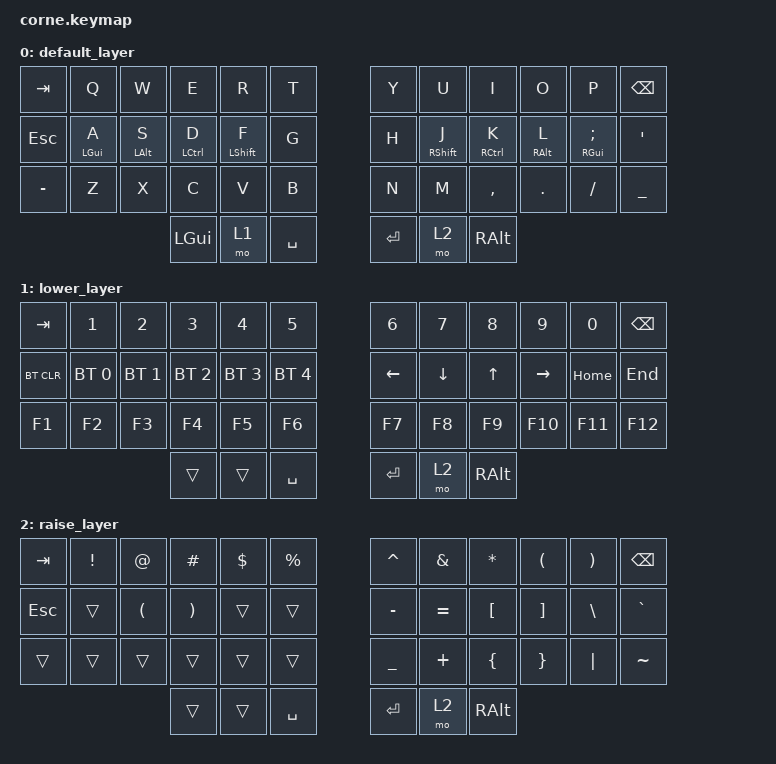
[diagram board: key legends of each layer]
/*
 * Copyright (c) 2020 The ZMK Contributors
 *
 * SPDX-License-Identifier: MIT
 */

#include <behaviors.dtsi>
#include <dt-bindings/zmk/keys.h>
#include <dt-bindings/zmk/bt.h>

/ {
        behaviors {
                hml: home_row_mod_left {
                        compatible = "zmk,behavior-hold-tap";
                        #binding-cells = <2>;
                        flavor = "balanced";
                        tapping-term-ms = <280>;
                        quick-tap-ms = <175>;
                        require-prior-idle-ms = <50>;
                        bindings = <&kp>, <&kp>;

                        hold-trigger-key-positions = <
                                6 7 8 9 10 11
                                18 19 20 21 22 23
                                30 31 32 33 34 35
                                39 40 41
                        >;

                        hold-trigger-on-release;
                };

                hmr: home_row_mod_right {
                        compatible = "zmk,behavior-hold-tap";
                        #binding-cells = <2>;
                        flavor = "balanced";
                        tapping-term-ms = <280>;
                        quick-tap-ms = <175>;
                        require-prior-idle-ms = <50>;
                        bindings = <&kp>, <&kp>;

                        hold-trigger-key-positions = <
                                0 1 2 3 4 5
                                12 13 14 15 16 17
                                24 25 26 27 28 29
                                36 37 38
                        >;

                        hold-trigger-on-release;
                };
        };

        keymap {
                compatible = "zmk,keymap";

                default_layer {
// -----------------------------------------------------------------------------------------
// |  ESC |  Q  |  W  |  E  |  R  |  T  |   |  Y  |  U   |  I  |  O  |  P  | BSPC |
// | TAB |  A  |  S  |  D  |  F  |  G  |   |  H  |  J   |  K  |  L  |  ;  |  '   |
// | - |  Z  |  X  |  C  |  V  |  B  |   |  N  |  M   |  ,  |  .  |  /  | _  |
//                    | GUI | LWR | SPC |   | ENT | RSE  | ALT |
bindings = <
   &kp TAB   &kp Q &kp W &kp E &kp R &kp T   &kp Y &kp U &kp I     &kp O   &kp P    &kp BSPC
   &kp ESC   &hml LGUI A &hml LALT S &hml LCTRL D &hml LSHFT F &kp G   &kp H &hmr RSHFT J &hmr RCTRL K &hmr RALT L &hmr RGUI SEMI &kp SQT
   &kp MINUS &kp Z &kp X &kp C &kp V &kp B   &kp N &kp M &kp COMMA &kp DOT &kp FSLH &kp UNDER
                  &kp LGUI &mo 1 &kp SPACE      &kp RET &mo 2 &kp RALT
>;
                };

                lower_layer {
// -----------------------------------------------------------------------------------------
//|TAB   | 1   | 2   | 3   | 4   | 5   |   | 6    | 7    | 8  | 9     | 0    | BSPC |
//| BTCLR | BT1 | BT2 | BT3 | BT4 | BT5 |   | LEFT | DOWN | UP | RIGHT | HOME | END  |
//| F1    | F2  | F3  | F4  | F5  | F6  |   | F7   | F8   | F9 | F10   | F11  | F12  |
//|                 | | SPACE |   | ENTER | RSE | RALT |
bindings = <
   &kp TAB    &kp N1       &kp N2       &kp N3       &kp N4       &kp N5         &kp N6   &kp N7   &kp N8 &kp N9    &kp N0   &kp BSPC
   &bt BT_CLR &bt BT_SEL 0 &bt BT_SEL 1 &bt BT_SEL 2 &bt BT_SEL 3 &bt BT_SEL 4   &kp LEFT &kp DOWN &kp UP &kp RIGHT &kp HOME &kp END
   &kp F1     &kp F2       &kp F3       &kp F4       &kp F5       &kp F6         &kp F7   &kp F8   &kp F9 &kp F10   &kp F11  &kp F12
                              &trans &trans &kp SPACE   &kp RET &mo 2 &kp RALT
>;
                };

                raise_layer {
// -----------------------------------------------------------------------------------------
//| TAB | ! | @ | # | $ | % |   | ^ | & | * | ( | ) | BSPC |
//| ESC |   |   |   |   |   |   | - | = | [ | ] | \ | `    |
//| -   |   |   |   |   |   |   | _ | + | { | } | | | ~    |
//|              RAISE | LOWER | SPACE |   | ENTER | BSPC | RALT |
                        bindings = <
   &kp TAB   &kp EXCL &kp AT &kp HASH &kp DLLR &kp PRCNT   &kp CARET &kp AMPS  &kp ASTRK &kp LPAR &kp RPAR &kp BSPC
   &kp ESC   &trans   &kp LPAR &kp RPAR &trans &trans      &kp MINUS &kp EQUAL &kp LBKT  &kp RBKT &kp BSLH &kp GRAVE
   &trans    &trans   &trans   &trans   &trans &trans      &kp UNDER &kp PLUS  &kp LBRC  &kp RBRC &kp PIPE &kp TILDE
                             &trans &trans &kp SPACE       &kp RET   &mo 2  &kp RALT
>;

                };
        };
};

&led_strip {
        chain-length = <0>;
};
